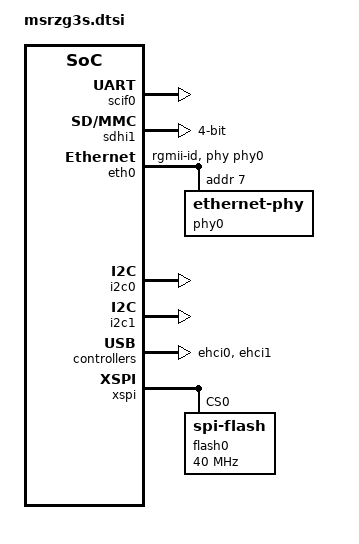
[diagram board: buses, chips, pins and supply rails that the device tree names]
// SPDX-License-Identifier: GPL-2.0
/*
 * Device Tree Source for the MSRZ2GUL OSM
 *
 * Copyright (C) 2025 ARIES Embedded
 */
#include <dt-bindings/pinctrl/rzg2l-pinctrl.h>

/ {
	aliases {
		serial0 = &scif0;
	};

	chosen {
		stdout-path = "serial0:115200n8";
	};
};

&pinctrl {
	eth0_pins: eth0 {
		pinmux = <RZG2L_PINMUX(1, 0, 1)>,	/* TXC/TX_CLK */
			 <RZG2L_PINMUX(1, 1, 1)>,	/* TX_CTL/TX_EN */
			 <RZG2L_PINMUX(1, 2, 1)>, 	/* TXD0 */
			 <RZG2L_PINMUX(1, 3, 1)>, 	/* TXD1 */
			 <RZG2L_PINMUX(1, 4, 1)>, 	/* TXD2 */
			 <RZG2L_PINMUX(2, 0, 1)>, 	/* TXD3 */
			 //<RZG2L_PINMUX(2, 1, 1)>, 	/* TX_ERR */
			 <RZG2L_PINMUX(2, 2, 1)>, 	/* TX_COL */
			 <RZG2L_PINMUX(2, 3, 1)>, 	/* TX_CRS */
			 <RZG2L_PINMUX(3, 0, 1)>, 	/* RXC/RX_CLK */
			 <RZG2L_PINMUX(3, 1, 1)>,	/* RX_CTL/RX_DEV */
			 <RZG2L_PINMUX(3, 2, 1)>, 	/* RXD0 */
			 <RZG2L_PINMUX(3, 3, 1)>, 	/* RXD1 */
			 <RZG2L_PINMUX(4, 0, 1)>, 	/* RXD2 */
			 <RZG2L_PINMUX(4, 1, 1)>, 	/* RXD3 */
			 <RZG2L_PINMUX(4, 2, 1)>, 	/* RX_ERR */
			 <RZG2L_PINMUX(4, 3, 1)>, 	/* MDC */
			 <RZG2L_PINMUX(4, 4, 1)>; 	/* MDIO */
			 //<RZG2L_PINMUX(4, 5, 1)>; 	/* LINKSTA */
	};

	usb0_pins: usb0 {
		pinmux = <RZG2L_PINMUX(5, 0, 1)>,	/* VBUS	*/
			 <RZG2L_PINMUX(5, 2, 1)>;	/* OVC	*/
	};

	usb1_pins: usb1 {
		pinmux = <RZG2L_PINMUX(6, 0, 1)>,	/* VBUS	*/
			 <RZG2L_PINMUX(5, 4, 5)>;	/* OVC */
	};
};

&xinclk {
	clock-frequency = <24000000>;
};

&scif0 {
	status = "okay";
	clock = <100000000>;
};

&sdhi1 {
	bus-width = <4>;
	status = "okay";
};

&eth0 {
	pinctrl-0 = <&eth0_pins>;
	pinctrl-names = "default";
	phy-handle = <&phy0>;
	phy-mode = "rgmii-id";
	status = "okay";

	phy0: ethernet-phy@7 {
		reg = <7>;
		rxc-skew-ps = <2400>;
		txc-skew-ps = <2400>;
		rxdv-skew-ps = <0>;
		txdv-skew-ps = <0>;
		rxd0-skew-ps = <0>;
		rxd1-skew-ps = <0>;
		rxd2-skew-ps = <0>;
		rxd3-skew-ps = <0>;
		txd0-skew-ps = <0>;
		txd1-skew-ps = <0>;
		txd2-skew-ps = <0>;
		txd3-skew-ps = <0>;
	};
};

&i2c0 {
	status = "okay";
};

&i2c1 {
	status = "okay";
};

&ehci0 {
	pinctrl-names = "default";
	pinctrl-0 = <&usb0_pins>;
	status = "okay";
};

&ehci1 {
	pinctrl-names = "default";
	pinctrl-0 = <&usb1_pins>;
	status = "okay";
};

&xspi {
        num-cs = <1>;
        status = "okay";
        spi-max-frequency = <40000000>;
        #address-cells = <1>;
        #size-cells = <0>;
        flash0: spi-flash@0 {
                #address-cells = <1>;
                #size-cells = <1>;
                compatible = "spi-flash", "jedec,spi-nor";
                spi-max-frequency = <40000000>;
                spi-tx-bus-width = <1>;
                spi-rx-bus-width = <1>;
                reg = <0>;
                status = "okay";
        };
};
